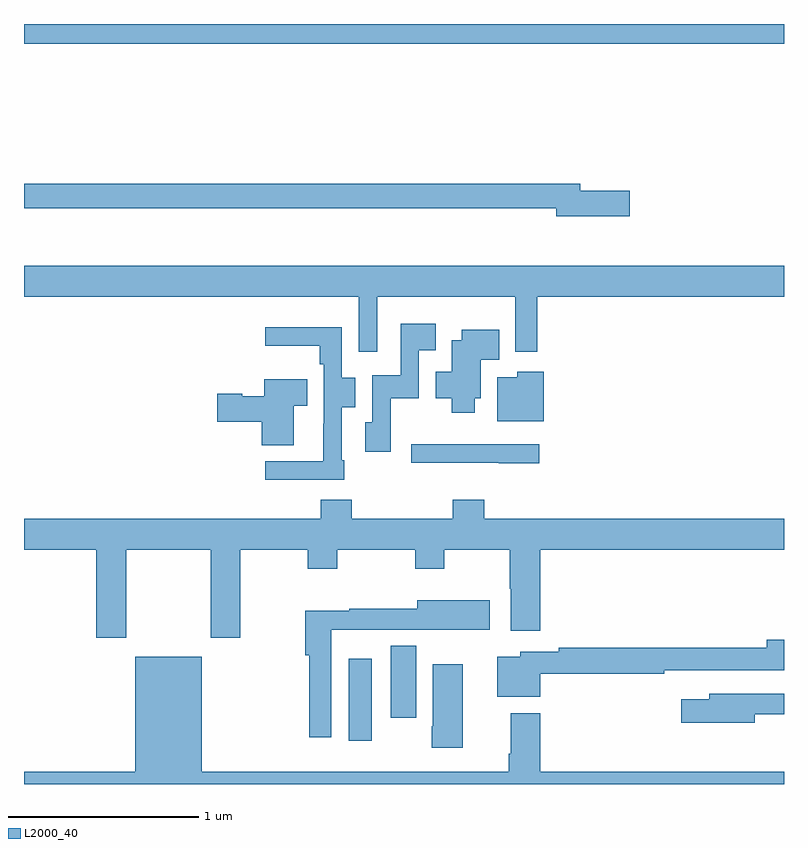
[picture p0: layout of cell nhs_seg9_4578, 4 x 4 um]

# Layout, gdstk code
import gdstk
lib = gdstk.Library(unit=1e-6, precision=1e-09)
def R(c, l, rs):  # rectangles x0, y0, x1, y1
    for r in rs: c.add(gdstk.rectangle(r[:2], r[2:], *l))
def P(c, l, *ps):  # polygons
    for p in ps: c.add(gdstk.Polygon(p, *l))
L2000_40 = (2000, 40)

nhs_seg9_4578 = lib.new_cell('nhs_seg9_4578')
R(nhs_seg9_4578, L2000_40, [(374.708,1216.728,374.83,1217.158), (374.93,1216.848,375.064,1217.228), (373,1220.396,377,1220.5)])
P(nhs_seg9_4578, L2000_40, [(376.189,1219.622),(375.928,1219.622),(375.928,1219.658),(373,1219.658),(373,1219.53),(375.8,1219.53),(375.8,1219.487),(376.189,1219.487)],
  [(374.859,1219.064),(375.585,1219.064),(375.585,1218.774),(375.701,1218.774),(375.701,1219.064),(377,1219.064),(377,1219.228),(373,1219.228),(373,1219.064),(374.763,1219.064),(374.763,1218.774),(374.859,1218.774)],
  [(374.931,1218.53),(375.078,1218.53),(375.078,1218.782),(375.166,1218.782),(375.166,1218.922),(374.982,1218.922),(374.982,1218.652),(374.832,1218.652),(374.832,1218.405),(374.795,1218.405),(374.795,1218.249),(374.931,1218.249)],
  [(374.686,1218.205),(374.673,1218.205),(374.673,1218.484),(374.743,1218.484),(374.743,1218.639),(374.673,1218.639),(374.673,1218.904),(374.271,1218.904),(374.271,1218.806),(374.557,1218.806),(374.557,1218.71),(374.577,1218.71),(374.577,1218.395),(374.576,1218.395),(374.576,1218.198),(374.271,1218.198),(374.271,1218.102),(374.686,1218.102)],
  [(375.373,1218.53),(375.403,1218.53),(375.403,1218.734),(375.5,1218.734),(375.5,1218.892),(375.305,1218.892),(375.305,1218.835),(375.251,1218.835),(375.251,1218.67),(375.167,1218.67),(375.167,1218.53),(375.251,1218.53),(375.251,1218.455),(375.373,1218.455)],
  [(375.736,1218.67),(375.596,1218.67),(375.596,1218.64),(375.491,1218.64),(375.491,1218.41),(375.736,1218.41)],
  [(374.419,1218.491),(374.492,1218.491),(374.492,1218.631),(374.264,1218.631),(374.264,1218.541),(374.148,1218.541),(374.148,1218.554),(374.016,1218.554),(374.016,1218.407),(374.252,1218.407),(374.252,1218.283),(374.419,1218.283)],
  [(375.712,1218.288),(375.369,1218.288),(375.369,1218.289),(375.039,1218.289),(375.039,1218.191),(375.499,1218.191),(375.499,1218.187),(375.712,1218.187)],
  [(375.422,1217.995),(375.257,1217.995),(375.257,1217.896),(374.726,1217.896),(374.726,1217.995),(374.561,1217.995),(374.561,1217.896),(373,1217.896),(373,1217.732),(373.379,1217.732),(373.379,1217.271),(373.539,1217.271),(373.539,1217.732),(373.984,1217.732),(373.984,1217.271),(374.139,1217.271),(374.139,1217.732),(374.494,1217.732),(374.494,1217.633),(374.649,1217.633),(374.649,1217.732),(375.058,1217.732),(375.058,1217.633),(375.213,1217.633),(375.213,1217.732),(375.556,1217.732),(375.556,1217.528),(375.563,1217.528),(375.563,1217.307),(375.716,1217.307),(375.716,1217.732),(377,1217.732),(377,1217.896),(375.422,1217.896)],
  [(374.616,1217.312),(374.826,1217.312),(374.826,1217.313),(375.175,1217.313),(375.175,1217.312),(375.451,1217.312),(375.451,1217.467),(375.071,1217.467),(375.071,1217.422),(374.713,1217.422),(374.713,1217.412),(374.479,1217.412),(374.479,1217.177),(374.5,1217.177),(374.5,1216.746),(374.616,1216.746)],
  [(375.718,1217.08),(376.37,1217.08),(376.37,1217.1),(377,1217.1),(377,1217.259),(376.91,1217.259),(376.91,1217.216),(375.814,1217.216),(375.814,1217.196),(375.612,1217.196),(375.612,1217.17),(375.491,1217.17),(375.491,1216.958),(375.718,1216.958)],
  [(377,1216.564),(375.716,1216.564),(375.716,1216.873),(375.563,1216.873),(375.563,1216.66),(375.551,1216.66),(375.551,1216.564),(373.936,1216.564),(373.936,1217.17),(373.586,1217.17),(373.586,1216.564),(373,1216.564),(373,1216.5),(377,1216.5)],
  [(375.31,1217.131),(375.152,1217.131),(375.152,1216.804),(375.145,1216.804),(375.145,1216.692),(375.31,1216.692)],
  [(376.846,1216.866),(377,1216.866),(377,1216.974),(376.607,1216.974),(376.607,1216.945),(376.458,1216.945),(376.458,1216.823),(376.846,1216.823)])

lib.write_gds('nhs_seg9_4578.gds')
